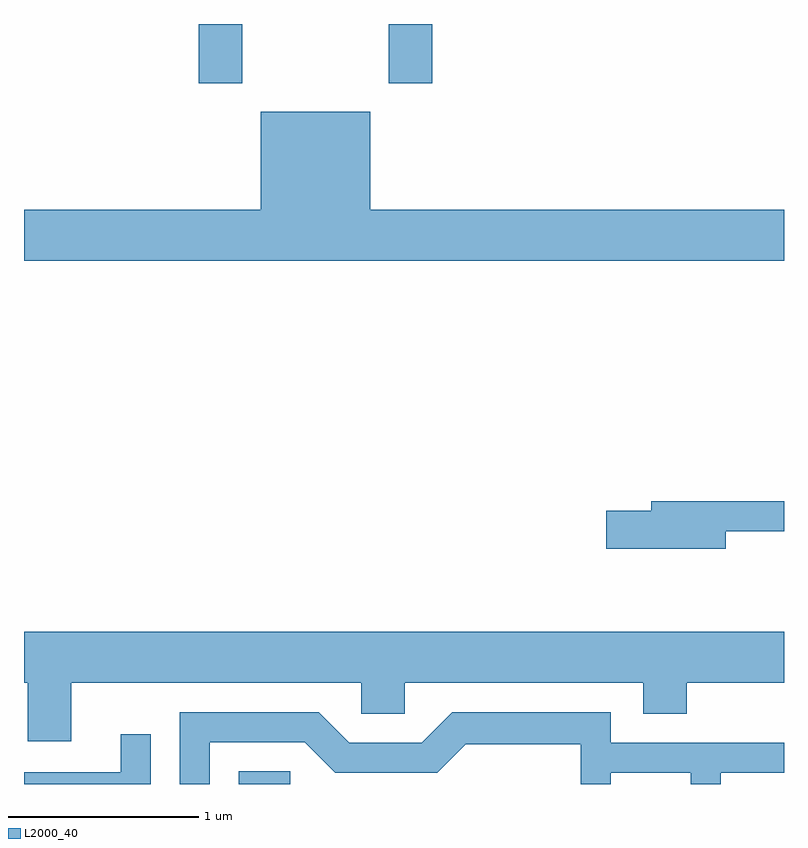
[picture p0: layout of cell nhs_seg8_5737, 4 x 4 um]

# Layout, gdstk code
import gdstk
lib = gdstk.Library(unit=1e-6, precision=1e-09)
def R(c, l, rs):  # rectangles x0, y0, x1, y1
    for r in rs: c.add(gdstk.rectangle(r[:2], r[2:], *l))
def P(c, l, *ps):  # polygons
    for p in ps: c.add(gdstk.Polygon(p, *l))
L2000_40 = (2000, 40)

nhs_seg8_5737 = lib.new_cell('nhs_seg8_5737')
R(nhs_seg8_5737, L2000_40, [(358.741,1820.342,359.013,1820.409), (358.531,1824.031,358.759,1824.342), (359.531,1824.031,359.759,1824.342)])
P(nhs_seg8_5737, L2000_40, [(361.611,1823.364),(359.434,1823.364),(359.434,1823.879),(358.856,1823.879),(358.856,1823.364),(357.611,1823.364),(357.611,1823.096),(361.611,1823.096)],
  [(361.304,1821.671),(361.611,1821.671),(361.611,1821.829),(360.911,1821.829),(360.911,1821.779),(360.676,1821.779),(360.676,1821.581),(361.304,1821.581)],
  [(357.859,1820.876),(359.386,1820.876),(359.386,1820.711),(359.614,1820.711),(359.614,1820.876),(360.871,1820.876),(360.871,1820.711),(361.099,1820.711),(361.099,1820.876),(361.611,1820.876),(361.611,1821.144),(357.611,1821.144),(357.611,1820.876),(357.631,1820.876),(357.631,1820.566),(357.859,1820.566)],
  [(358.589,1820.561),(359.089,1820.561),(359.249,1820.401),(359.787,1820.401),(359.937,1820.551),(360.541,1820.551),(360.541,1820.342),(360.699,1820.342),(360.699,1820.401),(361.121,1820.401),(361.121,1820.342),(361.279,1820.342),(361.279,1820.401),(361.611,1820.401),(361.611,1820.559),(360.699,1820.559),(360.699,1820.719),(359.864,1820.719),(359.704,1820.559),(359.322,1820.559),(359.162,1820.719),(358.431,1820.719),(358.431,1820.342),(358.589,1820.342)],
  [(358.279,1820.603),(358.121,1820.603),(358.121,1820.404),(357.611,1820.404),(357.611,1820.342),(358.279,1820.342)])

lib.write_gds('nhs_seg8_5737.gds')
